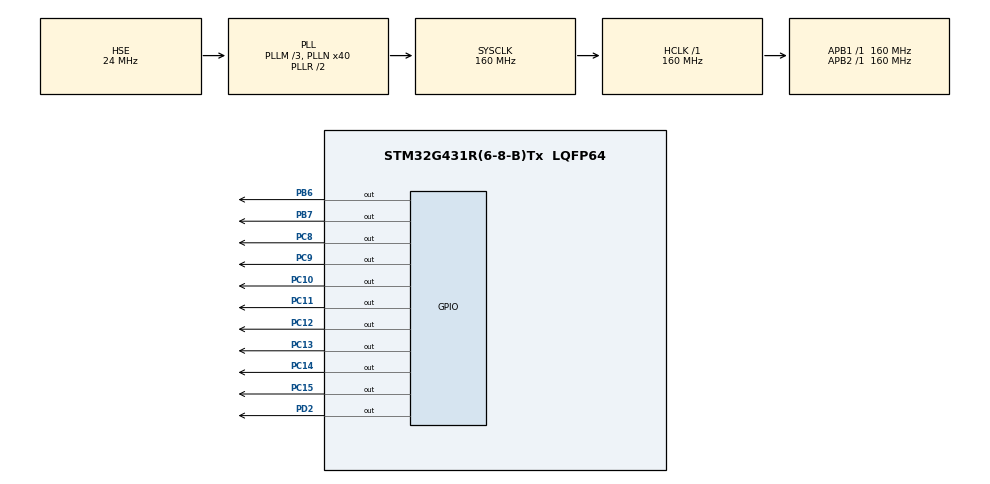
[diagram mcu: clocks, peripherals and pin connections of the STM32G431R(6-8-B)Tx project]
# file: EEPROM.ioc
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Mcu.Family=STM32G4
Mcu.Name=STM32G431R(6-8-B)Tx
Mcu.Package=LQFP64
NVIC.PriorityGroup=NVIC_PRIORITYGROUP_4
PA13.Mode=Serial_Wire
PA13.Signal=SYS_JTMS-SWDIO
PA14.Mode=Serial_Wire
PA14.Signal=SYS_JTCK-SWCLK
PB6.Signal=GPIO_Output
PB7.Signal=GPIO_Output
PC10.Signal=GPIO_Output
PC11.Signal=GPIO_Output
PC12.Signal=GPIO_Output
PC13.Signal=GPIO_Output
PC14-OSC32_IN.Signal=GPIO_Output
PC15-OSC32_OUT.Signal=GPIO_Output
PC8.Signal=GPIO_Output
PC9.Signal=GPIO_Output
PD2.Signal=GPIO_Output
PF0-OSC_IN.Mode=HSE-External-Oscillator
PF0-OSC_IN.Signal=RCC_OSC_IN
PF1-OSC_OUT.Mode=HSE-External-Oscillator
PF1-OSC_OUT.Signal=RCC_OSC_OUT
ProjectManager.HeapSize=0x200
ProjectManager.StackSize=0x400
ProjectManager.TargetToolchain=MDK-ARM V5.27
RCC.ADC12Freq_Value=160000000
RCC.AHBFreq_Value=160000000
RCC.APB1Freq_Value=160000000
RCC.APB1TimFreq_Value=160000000
RCC.APB2Freq_Value=160000000
RCC.APB2TimFreq_Value=160000000
RCC.CortexFreq_Value=160000000
RCC.EXTERNAL_CLOCK_VALUE=12288000
RCC.HCLKFreq_Value=160000000
RCC.HSE_VALUE=24000000
RCC.HSI48_VALUE=48000000
RCC.HSI_VALUE=16000000
RCC.LSE_VALUE=32768
RCC.PLLM=RCC_PLLM_DIV3
RCC.PLLN=40
RCC.PLLSourceVirtual=RCC_PLLSOURCE_HSE
RCC.SYSCLKFreq_VALUE=160000000
RCC.SYSCLKSource=RCC_SYSCLKSOURCE_PLLCLK
RCC.USBFreq_Value=160000000
RCC.VCOOutputFreq_Value=320000000
VP_SYS_VS_DBSignals.Mode=DisableDeadBatterySignals
board=custom

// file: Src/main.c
/* USER CODE BEGIN Header */
/**
  ******************************************************************************
  * @file           : main.c
  * @brief          : Main program body
  ******************************************************************************
  * @attention
  *
  * <h2><center>&copy; Copyright (c) 2023 STMicroelectronics.
  * All rights reserved.</center></h2>
  *
  * This software component is licensed by ST under BSD 3-Clause license,
  * the "License"; You may not use this file except in compliance with the
  * License. You may obtain a copy of the License at:
  *                        opensource.org/licenses/BSD-3-Clause
  *
  ******************************************************************************
  */
/* USER CODE END Header */

#include "main.h"
#include "gpio.h"

/* USER CODE BEGIN Includes */
#include "lcd_hal.h"
#include "stdio.h"
#include "i2c_hal.h"
/* USER CODE END Includes */

/* USER CODE BEGIN PV */
uint8_t At24c02_Adr=0;
uint8_t Tims_Count=0;
char Lcd_Line2[20];
char Lcd_Line3[20];
/* USER CODE END PV */

void SystemClock_Config(void);

/* USER CODE BEGIN 0 */
void CloseLed(void);
/* USER CODE END 0 */

int main(void)
{

  /* MCU Configuration--------------------------------------------------------*/

  /* Reset of all peripherals, Initializes the Flash interface and the Systick. */
  HAL_Init();

  /* Configure the system clock */
  SystemClock_Config();

  /* Initialize all configured peripherals */
  MX_GPIO_Init();
  /* USER CODE BEGIN 2 */
  CloseLed();
  I2CInit();//LCD初始化
  LCD_Init();//LCD初始化
  LCD_Clear(Black);
  LCD_SetTextColor(White);
  LCD_SetBackColor(Black);
  LCD_DisplayStringLine(Line0,"EEPROM Test");
  LCD_DisplayStringLine(Line1,"add one per power");
  sprintf(Lcd_Line2,"address:%3d",At24c02_Adr);
  LCD_DisplayStringLine(Line2,(uint8_t*)Lcd_Line2);

  Tims_Count=x24c02_read(At24c02_Adr);
  x24c02_write(At24c02_Adr,++Tims_Count);

  sprintf(Lcd_Line3,"Times:%3d",Tims_Count);
  LCD_DisplayStringLine(Line3,(uint8_t*)Lcd_Line3);
  /* USER CODE END 2 */

  /* Infinite loop */
  while (1)
  {

  }
}

void SystemClock_Config(void)
{
  RCC_OscInitTypeDef RCC_OscInitStruct = {0};
  RCC_ClkInitTypeDef RCC_ClkInitStruct = {0};

  /** Configure the main internal regulator output voltage
  */
  HAL_PWREx_ControlVoltageScaling(PWR_REGULATOR_VOLTAGE_SCALE1_BOOST);
  /** Initializes the CPU, AHB and APB busses clocks
  */
  RCC_OscInitStruct.OscillatorType = RCC_OSCILLATORTYPE_HSE;
  RCC_OscInitStruct.HSEState = RCC_HSE_ON;
  RCC_OscInitStruct.PLL.PLLState = RCC_PLL_ON;
  RCC_OscInitStruct.PLL.PLLSource = RCC_PLLSOURCE_HSE;
  RCC_OscInitStruct.PLL.PLLM = RCC_PLLM_DIV3;
  RCC_OscInitStruct.PLL.PLLN = 40;
  RCC_OscInitStruct.PLL.PLLP = RCC_PLLP_DIV2;
  RCC_OscInitStruct.PLL.PLLQ = RCC_PLLQ_DIV2;
  RCC_OscInitStruct.PLL.PLLR = RCC_PLLR_DIV2;
  if (HAL_RCC_OscConfig(&RCC_OscInitStruct) != HAL_OK)
  {
    Error_Handler();
  }
  /** Initializes the CPU, AHB and APB busses clocks
  */
  RCC_ClkInitStruct.ClockType = RCC_CLOCKTYPE_HCLK|RCC_CLOCKTYPE_SYSCLK
                              |RCC_CLOCKTYPE_PCLK1|RCC_CLOCKTYPE_PCLK2;
  RCC_ClkInitStruct.SYSCLKSource = RCC_SYSCLKSOURCE_PLLCLK;
  RCC_ClkInitStruct.AHBCLKDivider = RCC_SYSCLK_DIV1;
  RCC_ClkInitStruct.APB1CLKDivider = RCC_HCLK_DIV1;
  RCC_ClkInitStruct.APB2CLKDivider = RCC_HCLK_DIV1;

  if (HAL_RCC_ClockConfig(&RCC_ClkInitStruct, FLASH_LATENCY_7) != HAL_OK)
  {
    Error_Handler();
  }
}

/* USER CODE BEGIN 4 */
//熄灭灯操作
void CloseLed(void)
{
	HAL_GPIO_WritePin(GPIOC,GPIO_PIN_8 | GPIO_PIN_9 | GPIO_PIN_10 | GPIO_PIN_11 |
							GPIO_PIN_12 | GPIO_PIN_13 | GPIO_PIN_14 | GPIO_PIN_15 ,GPIO_PIN_SET);
	HAL_GPIO_WritePin(GPIOD,GPIO_PIN_2,GPIO_PIN_SET);
	HAL_GPIO_WritePin(GPIOD,GPIO_PIN_2,GPIO_PIN_RESET);
}

/* USER CODE END 4 */

void Error_Handler(void)
{
}

/************************ (C) COPYRIGHT STMicroelectronics *****END OF FILE****/
